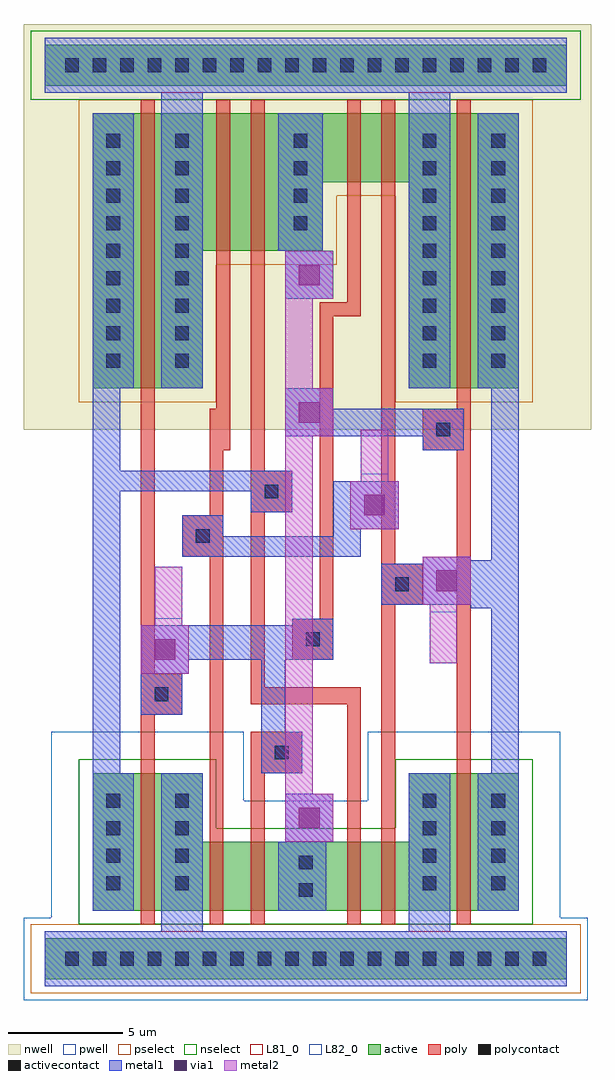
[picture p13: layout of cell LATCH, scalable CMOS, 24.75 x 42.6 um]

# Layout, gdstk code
import gdstk
lib = gdstk.Library(unit=1e-6, precision=1e-09)
def R(c, l, rs):  # rectangles x0, y0, x1, y1
    for r in rs: c.add(gdstk.rectangle(r[:2], r[2:], *l))
def A(c, l, x, y, w, h, nx, ny, dx, dy):  # array of equal rectangles
    R(c, l, [(x+i*dx, y+j*dy, x+i*dx+w, y+j*dy+h) for i in range(nx) for j in range(ny)])
pwell = (41, 0)
nwell = (42, 0)
active = (43, 0)
pselect = (44, 0)
nselect = (45, 0)
poly = (46, 0)
polycontact = (47, 0)
activecontact = (48, 0)
metal1 = (49, 0)
via1 = (50, 0)
metal2 = (51, 0)
L81_0 = (81, 0)
L82_0 = (82, 0)

latch = lib.new_cell('LATCH')
R(latch, pwell, [(-1.8,-1.8,22.8,1.8), (-0.6,1.8,21.6,6.9), (-0.6,6.9,7.8,9.9), (13.2,6.9,21.6,9.9)])
R(latch, nwell, [(-1.8,23.1,22.95,40.8)])
R(latch, active, [(-0.9,-0.9,21.9,0.9), (1.2,2.1,19.8,5.1), (1.2,5.1,6,8.1), (15,5.1,19.8,8.1), (1.2,24.9,6,30.9), (15,24.9,19.8,33.9), (1.2,30.9,11.25,33.9), (1.2,33.9,19.8,36.9), (-0.9,38.1,21.9,39.9)])
R(latch, pselect, [(-1.5,-1.5,22.5,1.5), (0.6,24.3,6.6,30.3), (14.4,24.3,20.4,33.3), (0.6,30.3,11.85,33.3), (0.6,33.3,20.4,37.5)])
R(latch, nselect, [(0.6,1.5,20.4,5.7), (0.6,5.7,6.6,8.7), (14.4,5.7,20.4,8.7), (-1.5,37.5,22.5,40.5)])
R(latch, poly, [(3.3,1.5,3.9,10.65), (6.3,1.5,6.9,17.55), (8.1,1.5,8.7,8.1), (12.3,1.5,12.9,11.1), (13.8,1.5,14.4,15.45), (17.1,1.5,17.7,22.2), (8.1,8.1,10.35,9.9), (3.3,10.65,5.1,12.45), (8.1,11.1,12.9,11.85), (8.1,11.85,8.7,19.5), (3.3,12.45,3.9,37.5), (9.9,13.05,11.7,14.85), (11.1,14.85,11.7,28.05), (13.8,15.45,15.6,17.25), (13.8,17.25,14.4,37.5), (5.1,17.55,6.9,19.35), (6.3,19.35,6.9,22.2), (8.1,19.5,9.9,21.3), (8.1,21.3,8.7,37.5), (6.3,22.2,7.2,24), (15.6,22.2,17.7,24), (6.6,24,7.2,37.5), (17.1,24,17.7,37.5), (11.1,28.05,12.9,28.65), (12.3,28.65,12.9,37.5)])
R(latch, polycontact, [(9.15,8.7,9.75,9.3), (3.9,11.25,4.5,11.85), (10.5,13.65,11.1,14.25), (14.4,16.05,15,16.65), (5.7,18.15,6.3,18.75), (8.7,20.1,9.3,20.7), (16.2,22.8,16.8,23.4)])
A(latch, activecontact, 0, -0.3, 0.6, 0.6, 18, 2, 1.2, 39)
A(latch, activecontact, 1.8, 3, 0.6, 0.6, 1, 4, 0, 1.2)
A(latch, activecontact, 4.8, 3, 0.6, 0.6, 1, 4, 0, 1.2)
A(latch, activecontact, 15.6, 3, 0.6, 0.6, 1, 4, 0, 1.2)
A(latch, activecontact, 18.6, 3, 0.6, 0.6, 1, 4, 0, 1.2)
A(latch, activecontact, 1.8, 25.8, 0.6, 0.6, 1, 9, 0, 1.2)
A(latch, activecontact, 4.8, 25.8, 0.6, 0.6, 1, 9, 0, 1.2)
A(latch, activecontact, 15.6, 25.8, 0.6, 0.6, 1, 9, 0, 1.2)
A(latch, activecontact, 18.6, 25.8, 0.6, 0.6, 1, 9, 0, 1.2)
A(latch, activecontact, 9.97, 31.8, 0.6, 0.6, 1, 4, 0, 1.2)
R(latch, activecontact, [(10.2,2.7,10.8,3.3), (10.2,3.9,10.8,4.5)])
R(latch, metal1, [(-0.9,-1.2,21.9,1.2), (4.2,1.2,6,8.1), (15,1.2,16.8,8.1), (1.2,2.1,3,8.1), (9.3,2.1,11.4,5.1), (18,2.1,19.8,8.1), (9.6,5.1,11.7,7.2), (1.2,8.1,2.4,20.4), (8.55,8.1,10.35,9.9), (18.6,8.1,19.8,15.3), (8.55,9.9,9.6,13.05), (3.3,10.65,5.1,12.45), (3.3,12.45,5.4,13.05), (3.3,13.05,11.7,14.55), (9.9,14.55,11.7,14.85), (17.7,15.3,19.8,15.45), (13.8,15.45,19.8,17.25), (15.6,17.25,19.8,17.4), (15.6,17.4,17.7,17.55), (18.6,17.4,19.8,24.9), (5.1,17.55,12.9,18.45), (5.1,18.45,6.9,19.35), (11.7,18.45,12.9,18.75), (11.7,18.75,14.55,20.85), (8.1,19.5,9.9,20.4), (1.2,20.4,9.9,21.3), (1.2,21.3,2.4,24.9), (15.6,22.2,17.4,22.8), (9.6,22.8,17.4,24), (9.6,24,11.7,24.9), (1.2,24.9,3,36.9), (4.2,24.9,6,37.8), (15,24.9,16.8,37.8), (18,24.9,19.8,36.9), (9.6,28.8,11.7,30.9), (9.3,30.9,11.25,36.9), (-0.9,37.8,21.9,40.2)])
R(latch, via1, [(10.2,5.7,11.1,6.6), (3.9,13.05,4.8,13.95), (16.2,16.05,17.1,16.95), (13.05,19.35,13.95,20.25), (10.2,23.4,11.1,24.3), (10.2,29.4,11.1,30.3)])
R(latch, metal2, [(9.6,5.1,11.7,7.2), (9.6,7.2,10.8,22.8), (3.3,12.45,5.4,14.55), (15.9,12.9,17.1,15.45), (3.9,14.55,5.1,17.1), (15.6,15.45,17.7,17.55), (12.45,18.75,14.55,20.85), (12.9,20.85,14.1,23.1), (9.6,22.8,11.7,24.9), (9.6,24.9,10.8,28.8), (9.6,28.8,11.7,30.9)])
R(latch, L81_0, [(-0.9,-1.2,21.9,1.2), (-0.9,37.8,21.9,40.2)])
R(latch, L82_0, [(15.9,12.9,17.1,15.15), (3.9,14.85,5.1,17.1), (12.9,21.15,14.1,23.1)])

lib.write_gds('LATCH.gds')
